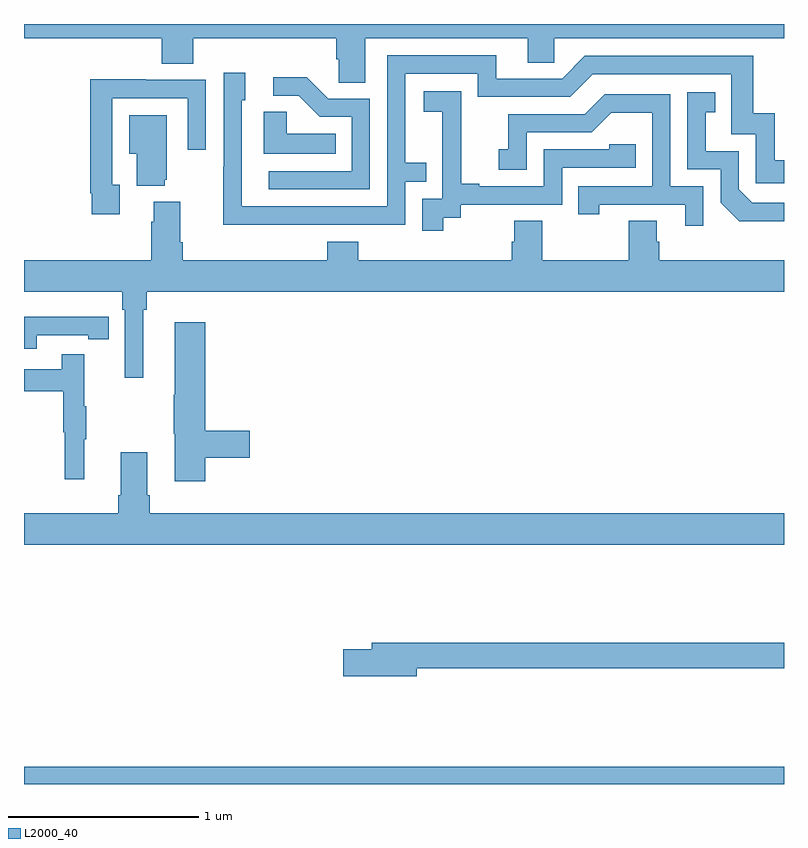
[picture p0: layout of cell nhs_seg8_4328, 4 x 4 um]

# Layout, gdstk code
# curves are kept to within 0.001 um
import gdstk
lib = gdstk.Library(unit=1e-6, precision=1e-09)
def R(c, l, rs):  # rectangles x0, y0, x1, y1
    for r in rs: c.add(gdstk.rectangle(r[:2], r[2:], *l))
def P(c, l, *ps):  # polygons
    for p in ps: c.add(gdstk.Polygon(p, *l))
L2000_40 = (2000, 40)

nhs_seg8_4328 = lib.new_cell('nhs_seg8_4328')
R(nhs_seg8_4328, L2000_40, [(375,1121.9,379,1121.992)])
P(nhs_seg8_4328, L2000_40, [(376.795,1125.824),(377.651,1125.824),(377.651,1125.697),(377.79,1125.697),(377.79,1125.824),(379,1125.824),(379,1125.9),(375,1125.9),(375,1125.824),(375.725,1125.824),(375.725,1125.691),(375.89,1125.691),(375.89,1125.824),(376.643,1125.824),(376.643,1125.715),(376.656,1125.715),(376.656,1125.592),(376.795,1125.592)],
  [(376.511,1124.844),(377.007,1124.844),(377.007,1125.069),(377.117,1125.069),(377.117,1125.17),(377.007,1125.17),(377.007,1125.639),(377.388,1125.639),(377.388,1125.516),(377.874,1125.516),(377.994,1125.636),(378.723,1125.636),(378.723,1125.321),(378.852,1125.321),(378.852,1125.063),(379,1125.063),(379,1125.183),(378.95,1125.183),(378.95,1125.43),(378.839,1125.43),(378.839,1125.732),(377.952,1125.732),(377.832,1125.612),(377.485,1125.612),(377.485,1125.735),(376.911,1125.735),(376.911,1124.94),(376.146,1124.94),(376.146,1125.498),(376.165,1125.498),(376.165,1125.643),(376.05,1125.643),(376.05,1125.149),(376.048,1125.149),(376.048,1124.843)],
  [(376.821,1125.507),(376.602,1125.507),(376.489,1125.62),(376.311,1125.62),(376.311,1125.522),(376.445,1125.522),(376.556,1125.411),(376.725,1125.411),(376.725,1125.126),(376.287,1125.126),(376.287,1125.03),(376.821,1125.03)],
  [(375.505,1125.054),(375.465,1125.054),(375.465,1125.51),(375.861,1125.51),(375.861,1125.237),(375.957,1125.237),(375.957,1125.606),(375.641,1125.606),(375.641,1125.608),(375.349,1125.608),(375.349,1125.01),(375.357,1125.01),(375.357,1124.898),(375.505,1124.898)],
  [(377.206,1124.881),(377.298,1124.881),(377.298,1124.949),(377.832,1124.949),(377.832,1125.144),(378.221,1125.144),(378.221,1125.267),(378.081,1125.267),(378.081,1125.24),(377.736,1125.24),(377.736,1125.045),(377.395,1125.045),(377.395,1125.058),(377.3,1125.058),(377.3,1125.341),(377.301,1125.341),(377.301,1125.547),(377.103,1125.547),(377.103,1125.437),(377.201,1125.437),(377.201,1125.209),(377.202,1125.209),(377.202,1124.979),(377.097,1124.979),(377.097,1124.811),(377.206,1124.811)],
  [(379,1124.958),(378.834,1124.958),(378.762,1125.03),(378.762,1125.231),(378.589,1125.231),(378.589,1125.435),(378.638,1125.435),(378.638,1125.541),(378.492,1125.541),(378.492,1125.135),(378.666,1125.135),(378.666,1124.958),(378.764,1124.861),(379,1124.861)],
  [(378.576,1125.045),(378.402,1125.045),(378.402,1125.531),(378.056,1125.531),(377.951,1125.426),(377.548,1125.426),(377.548,1125.241),(377.499,1125.241),(377.499,1125.132),(377.646,1125.132),(377.646,1125.33),(377.988,1125.33),(378.092,1125.434),(378.306,1125.434),(378.306,1125.045),(377.917,1125.045),(377.917,1124.898),(378.028,1124.898),(378.028,1124.949),(378.479,1124.949),(378.479,1124.838),(378.576,1124.838)],
  [(376.64,1125.322),(376.383,1125.322),(376.383,1125.437),(376.262,1125.437),(376.262,1125.218),(376.64,1125.218)],
  [(375.74,1125.081),(375.751,1125.081),(375.751,1125.421),(375.554,1125.421),(375.554,1125.218),(375.593,1125.218),(375.593,1125.05),(375.74,1125.05)],
  [(375.683,1124.965),(375.683,1124.858),(375.671,1124.858),(375.671,1124.656),(375,1124.656),(375,1124.492),(375.518,1124.492),(375.518,1124.396),(375.531,1124.396),(375.531,1124.037),(375.628,1124.037),(375.628,1124.396),(375.647,1124.396),(375.647,1124.492),(379,1124.492),(379,1124.656),(378.344,1124.656),(378.344,1124.754),(378.331,1124.754),(378.331,1124.864),(378.184,1124.864),(378.184,1124.656),(377.727,1124.656),(377.727,1124.864),(377.579,1124.864),(377.579,1124.754),(377.567,1124.754),(377.567,1124.656),(376.76,1124.656),(376.76,1124.755),(376.595,1124.755),(376.595,1124.656),(375.836,1124.656),(375.836,1124.752),(375.823,1124.752),(375.823,1124.965)],
  [(375.066,1124.262),(375.338,1124.262),(375.338,1124.242),(375.446,1124.242),(375.446,1124.358),(375.338,1124.358),(375.338,1124.359),(375,1124.359),(375,1124.19),(375.066,1124.19)],
  [(375.953,1123.618),(376.189,1123.618),(376.189,1123.76),(375.953,1123.76),(375.953,1124.329),(375.794,1124.329),(375.794,1123.949),(375.787,1123.949),(375.787,1123.743),(375.794,1123.743),(375.794,1123.494),(375.953,1123.494)],
  [(375.317,1123.715),(375.328,1123.715),(375.328,1123.889),(375.317,1123.889),(375.317,1124.161),(375.199,1124.161),(375.199,1124.082),(375,1124.082),(375,1123.966),(375.207,1123.966),(375.207,1123.752),(375.214,1123.752),(375.214,1123.503),(375.317,1123.503)],
  [(379,1123.324),(375.662,1123.324),(375.662,1123.42),(375.649,1123.42),(375.649,1123.645),(375.509,1123.645),(375.509,1123.42),(375.497,1123.42),(375.497,1123.324),(375,1123.324),(375,1123.16),(379,1123.16)],
  [(377.068,1122.508),(379,1122.508),(379,1122.644),(376.829,1122.644),(376.829,1122.608),(376.68,1122.608),(376.68,1122.466),(377.068,1122.466)])

lib.write_gds('nhs_seg8_4328.gds')
